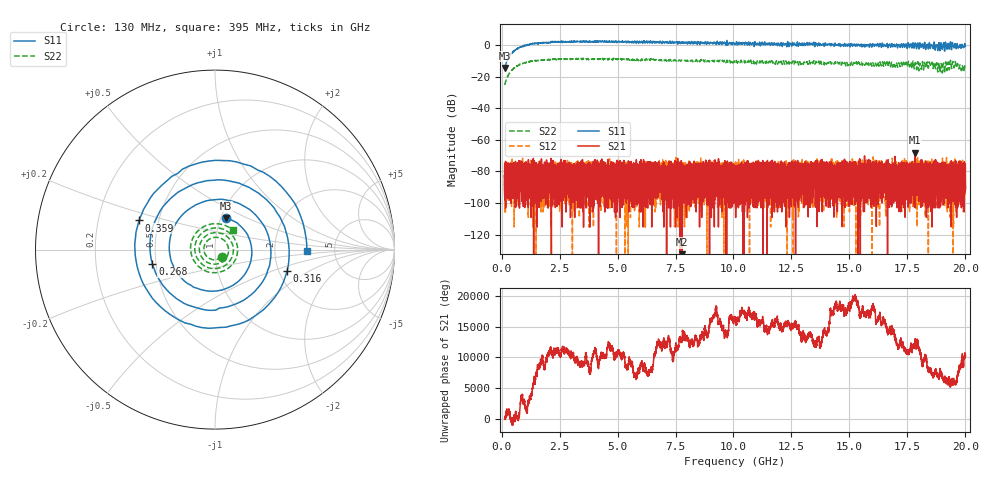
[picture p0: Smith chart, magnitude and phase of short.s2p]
!Created with skrf (http://scikit-rf.org).
# GHz S RI R 50.0
!freq ReS11 ImS11 ReS21 ImS21 ReS12 ImS12 ReS22 ImS22
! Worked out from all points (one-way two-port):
!   20013 points, 130 MHz to 20 GHz, reference 50 ohm
!   highest |S21| = -68.03 dB at 17.84 GHz (marker M1); lowest = -178.5 dB at 7.789 GHz (marker M2)
!   lowest |S11| = -14.6 dB at 130 MHz (marker M3), VSWR 1.46, Z = 52.7 + j19.2 ohm
!   |S11| at or under -10 dB: start of sweep to 232.7 MHz; 233.5111 MHz to 234.3078 MHz (796.7 kHz wide, 0.341 % of centre)
!   |S22| runs from -25.4 to -8.5 dB; largest |S21 - S12| = 0.00042
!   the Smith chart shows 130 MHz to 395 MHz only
!   S11 on the Smith chart (normalised r, x): 130 MHz: 1.05, +0.38; 268 MHz: 0.48, -0.09; 316 MHz: 2.21, -0.65; 359 MHz: 0.39, +0.16; 395 MHz: 3.09, -0.06
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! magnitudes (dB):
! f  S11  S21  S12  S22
! 130 MHz  -14.6  -82.1  -84.0  -25.4
! 268 MHz  -8.9  -86.2  -84.9  -19.7
! 316 MHz  -7.6  -82.1  -84.1  -18.3
! 359 MHz  -6.9  -77.8  -80.0  -17.7
! 395 MHz  -5.8  -92.9  -78.4  -16.6
! 725 MHz  -2.2  -78.8  -90.3  -12.8
! 1.298 GHz  0.5  -77.0  -76.6  -10.4
! 2.218 GHz  1.7  -78.6  -87.1  -9.2
! 3.442 GHz  2.0  -81.1  -79.8  -8.5
! 6.754 GHz  1.4  -96.1  -95.0  -9.5
! 7.789 GHz  1.8  -178.5  -85.1  -9.8
! 10.06 GHz  0.4  -81.0  -82.3  -11.3
! 13.38 GHz  0.9  -87.6  -81.1  -10.4
! 16.69 GHz  -0.2  -80.9  -79.3  -12.6
! 17.84 GHz  1.1  -68.0  -83.7  -11.5
! 18.5 GHz  -1.1  -78.7  -78.6  -13.6
! 19.01 GHz  -2.6  -82.3  -74.4  -17.6
! 19.41 GHz  -2.0  -83.1  -74.4  -14.8
! 19.46 GHz  0.4  -81.2  -87.9  -10.5
! 19.61 GHz  -2.0  -86.2  -78.7  -14.4
! 19.87 GHz  -0.4  -88.7  -82.2  -13.1
! 20 GHz  -1.0  -90.9  -80.5  -14.4
